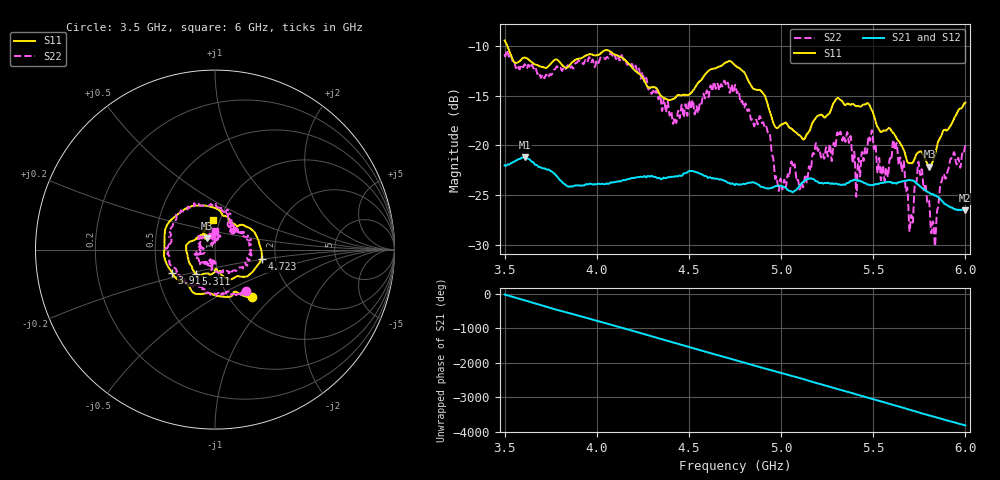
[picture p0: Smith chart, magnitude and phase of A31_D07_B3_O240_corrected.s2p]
! Created with skrf 1.9.0 (http://scikit-rf.org).
# Hz S RI R 50.0
!freq ReS11 ImS11 ReS21 ImS21 ReS12 ImS12 ReS22 ImS22
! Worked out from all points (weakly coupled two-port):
!   1601 points, 3.5 GHz to 6 GHz, reference 50 ohm
!   highest |S21| = -21.17 dB at 3.609 GHz (marker M1); lowest = -26.5 dB at 5.997 GHz (marker M2)
!   lowest |S11| = -22.1 dB at 5.805 GHz (marker M3), VSWR 1.17, Z = 45.2 + j5.7 ohm
!   |S11| at or under -10 dB: 3.514 GHz to end of sweep
!   |S22| runs from -30.1 to -10.5 dB; largest |S21 - S12| = 0.001
!   S11 on the Smith chart (normalised r, x): 3.5 GHz: 1.26, -0.76; 3.911 GHz: 0.60, -0.17; 4.723 GHz: 1.69, -0.19; 5.311 GHz: 0.78, -0.21; 6 GHz: 0.93, +0.31
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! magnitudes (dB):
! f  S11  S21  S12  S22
! 3.5 GHz  -9.5  -22.0  -22.0  -10.9
! 3.609 GHz  -11.2  -21.2  -21.2  -11.9
! 3.911 GHz  -11.3  -24.0  -24.0  -11.6
! 3.917 GHz  -11.3  -24.0  -24.0  -11.6
! 4.334 GHz  -14.6  -23.2  -23.2  -15.4
! 4.723 GHz  -11.6  -23.8  -23.7  -14.7
! 4.75 GHz  -12.0  -24.0  -23.9  -14.0
! 4.928 GHz  -16.0  -24.3  -24.3  -18.7
! 4.995 GHz  -18.0  -24.0  -24.0  -23.4
! 5.167 GHz  -17.9  -23.3  -23.3  -21.4
! 5.311 GHz  -15.3  -23.9  -23.8  -19.0
! 5.416 GHz  -16.0  -23.5  -23.5  -22.0
! 5.484 GHz  -16.2  -24.0  -23.9  -19.4
! 5.584 GHz  -18.3  -23.7  -23.6  -22.3
! 5.62 GHz  -19.0  -23.8  -23.8  -20.4
! 5.705 GHz  -21.8  -23.5  -23.5  -27.1
! 5.753 GHz  -20.6  -24.1  -24.0  -22.8
! 5.805 GHz  -22.1  -24.7  -24.7  -25.8
! 5.828 GHz  -21.4  -25.0  -24.9  -28.1
! 5.873 GHz  -18.8  -25.5  -25.5  -23.5
! 5.997 GHz  -15.7  -26.5  -26.4  -20.2
! 6 GHz  -15.7  -26.5  -26.4  -19.8
